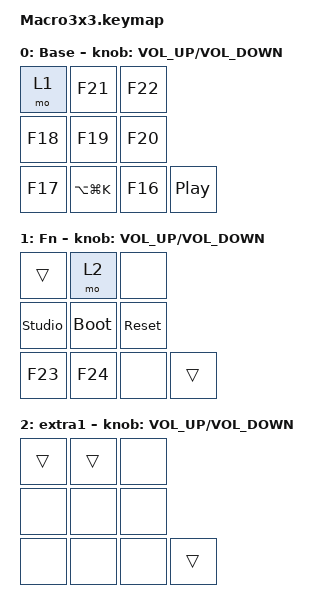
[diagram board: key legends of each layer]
#include <behaviors.dtsi>
#include <dt-bindings/zmk/keys.h>


/ {
    
    keymap {
        compatible = "zmk,keymap";

        default_layer { // Layer 0
            display-name = "Base";
            
            sensor-bindings = <&inc_dec_kp  C_VOLUME_UP C_VOLUME_DOWN>;

            bindings = <
                &mo 1      &kp F21        &kp F22
                &kp F18    &kp F19        &kp F20
                &kp F17    &kp LA(LG(K))  &kp F16    &kp C_PLAY_PAUSE
            >;
        };

        fn_layer { // Layer 1
            display-name = "Fn";

            sensor-bindings = <&inc_dec_kp  C_VOLUME_UP C_VOLUME_DOWN>;

            bindings = <
                &trans            &mo 2        &none
                &studio_unlock    &bootloader  &sys_reset
                &kp F23           &kp F24      &none    &trans
            >;
        };

        extra1 { // Layer 2
            display-name = "extra1";

            sensor-bindings = <&inc_dec_kp  C_VOLUME_UP C_VOLUME_DOWN>;

            bindings = <
                &trans    &trans     &none
                &none     &none      &none
                &none     &none      &none    &trans
                >;
        };


    };
};
